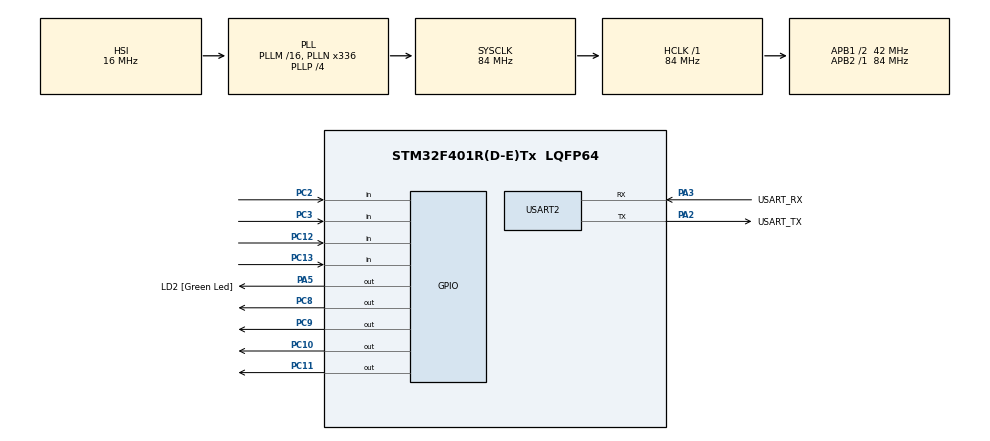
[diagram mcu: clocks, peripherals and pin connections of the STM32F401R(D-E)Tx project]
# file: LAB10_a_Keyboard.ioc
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Mcu.Family=STM32F4
Mcu.Name=STM32F401R(D-E)Tx
Mcu.Package=LQFP64
NVIC.PriorityGroup=NVIC_PRIORITYGROUP_0
PA13.GPIO_Label=TMS
PA13.Mode=Serial_Wire
PA13.Signal=SYS_JTMS-SWDIO
PA14.GPIO_Label=TCK
PA14.Mode=Serial_Wire
PA14.Signal=SYS_JTCK-SWCLK
PA2.GPIO_Label=USART_TX
PA2.GPIO_Mode=GPIO_MODE_AF_PP
PA2.GPIO_PuPd=GPIO_NOPULL
PA2.GPIO_Speed=GPIO_SPEED_FREQ_LOW
PA2.Mode=Asynchronous
PA2.Signal=USART2_TX
PA3.GPIO_Label=USART_RX
PA3.GPIO_Mode=GPIO_MODE_AF_PP
PA3.GPIO_PuPd=GPIO_NOPULL
PA3.GPIO_Speed=GPIO_SPEED_FREQ_LOW
PA3.Mode=Asynchronous
PA3.Signal=USART2_RX
PA5.GPIO_Label=LD2 [Green Led]
PA5.GPIO_Mode=GPIO_MODE_OUTPUT_PP
PA5.GPIO_PuPd=GPIO_NOPULL
PA5.GPIO_Speed=GPIO_SPEED_FREQ_LOW
PA5.Signal=GPIO_Output
PB3.GPIO_Label=SWO
PB3.Signal=SYS_JTDO-SWO
PC10.Signal=GPIO_Output
PC11.Signal=GPIO_Output
PC12.Signal=GPIO_Input
PC13-ANTI_TAMP.Signal=GPIO_Input
PC14-OSC32_IN.Mode=LSE-External-Oscillator
PC14-OSC32_IN.Signal=RCC_OSC32_IN
PC15-OSC32_OUT.Mode=LSE-External-Oscillator
PC15-OSC32_OUT.Signal=RCC_OSC32_OUT
PC2.Signal=GPIO_Input
PC3.Signal=GPIO_Input
PC8.Signal=GPIO_Output
PC9.Signal=GPIO_Output
PH0\ -\ OSC_IN.Mode=HSE-External-Clock-Source
PH0\ -\ OSC_IN.Signal=RCC_OSC_IN
PH1\ -\ OSC_OUT.Mode=HSE-External-Clock-Source
PH1\ -\ OSC_OUT.Signal=RCC_OSC_OUT
ProjectManager.HeapSize=0x200
ProjectManager.StackSize=0x400
ProjectManager.TargetToolchain=STM32CubeIDE
RCC.48MHZClocksFreq_Value=48000000
RCC.AHBFreq_Value=84000000
RCC.APB1CLKDivider=RCC_HCLK_DIV2
RCC.APB1Freq_Value=42000000
RCC.APB1TimFreq_Value=84000000
RCC.APB2Freq_Value=84000000
RCC.APB2TimFreq_Value=84000000
RCC.CortexFreq_Value=84000000
RCC.HCLKFreq_Value=84000000
RCC.HSE_VALUE=8000000
RCC.HSI_VALUE=16000000
RCC.PLLN=336
RCC.PLLP=RCC_PLLP_DIV4
RCC.PLLQ=7
RCC.SYSCLKFreq_VALUE=84000000
RCC.SYSCLKSource=RCC_SYSCLKSOURCE_PLLCLK
RCC.VCOOutputFreq_Value=336000000
USART2.VirtualMode=VM_ASYNC
board=NUCLEO-F401RE

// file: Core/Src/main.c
/* USER CODE BEGIN Header */
/**
  ******************************************************************************
  * @file           : main.c
  * @brief          : Main program body
  ******************************************************************************
  * @attention
  *
  * Copyright (c) 2022 STMicroelectronics.
  * All rights reserved.
  *
  * This software is licensed under terms that can be found in the LICENSE file
  * in the root directory of this software component.
  * If no LICENSE file comes with this software, it is provided AS-IS.
  *
  ******************************************************************************
  */
/* USER CODE END Header */
#include "main.h"

UART_HandleTypeDef huart2;

/* USER CODE BEGIN PV */

//Memorize all the used output pins: outputArray[0] = column0...
uint16_t outputArray[4] = {GPIO_PIN_8,GPIO_PIN_9,GPIO_PIN_10,GPIO_PIN_11};

//Memorize all used input pins: inputArray[0] = row0...
uint16_t inputArray[4] = {GPIO_PIN_12,GPIO_PIN_13,GPIO_PIN_2, GPIO_PIN_3};

uint32_t keypress[4][4];
uint32_t ack[4][4];

int column = 0;
int row = 0;
/* USER CODE END PV */

void SystemClock_Config(void);
static void MX_GPIO_Init(void);
static void MX_USART2_UART_Init(void);

int main(void)
{
  /* USER CODE BEGIN 1 */

	uint8_t keyboard_values[4][4];
	uint8_t temp = 0;
	 for(int column = 0; column < 4; column++){
		  for(int row = 0; row < 4; row++){
			  keyboard_values[row][column] = temp;
			  temp++;
		  }
	 }

	 int len = 0;
	 char str[32];
  /* USER CODE END 1 */

  /* MCU Configuration--------------------------------------------------------*/

  /* Reset of all peripherals, Initializes the Flash interface and the Systick. */
  HAL_Init();

  /* Configure the system clock */
  SystemClock_Config();

  /* Initialize all configured peripherals */
  MX_GPIO_Init();
  MX_USART2_UART_Init();

  /* Infinite loop */
  /* USER CODE BEGIN WHILE */
  while (1)
  {
	  for(column = 0; column < 4; column++){
		  HAL_GPIO_WritePin(GPIOC, outputArray[column], GPIO_PIN_SET);

		  HAL_Delay(10);

		  for(row = 0; row < 4; row++){
			  if (HAL_GPIO_ReadPin(GPIOC, inputArray[row])==GPIO_PIN_SET){
				  keypress[column][row]=0;
			  }else{
				  keypress[column][row]=1;
			  }
		  }

		  HAL_GPIO_WritePin(GPIOC, outputArray[column], GPIO_PIN_RESET);
	  }

	  for(row=0; row<4; row++){
		  for(column=0; column<4; column++){
			  if(keypress[row][column]==1){
				  if(ack[row][column]==0){
					  len = snprintf(str, sizeof(str), "Button pressed: %x \r\n", keyboard_values[row][column]);
					  HAL_UART_Transmit(&huart2, str, len, 10);
					  ack[row][column]= 1;
				  }
			  }else{
				  ack[row][column] = 0;
			  }
		  }
	  }

  }
    /* USER CODE END WHILE */

}

void SystemClock_Config(void)
{
  RCC_OscInitTypeDef RCC_OscInitStruct = {0};
  RCC_ClkInitTypeDef RCC_ClkInitStruct = {0};

  /** Configure the main internal regulator output voltage
  */
  __HAL_RCC_PWR_CLK_ENABLE();
  __HAL_PWR_VOLTAGESCALING_CONFIG(PWR_REGULATOR_VOLTAGE_SCALE2);

  /** Initializes the RCC Oscillators according to the specified parameters
  * in the RCC_OscInitTypeDef structure.
  */
  RCC_OscInitStruct.OscillatorType = RCC_OSCILLATORTYPE_HSI;
  RCC_OscInitStruct.HSIState = RCC_HSI_ON;
  RCC_OscInitStruct.HSICalibrationValue = RCC_HSICALIBRATION_DEFAULT;
  RCC_OscInitStruct.PLL.PLLState = RCC_PLL_ON;
  RCC_OscInitStruct.PLL.PLLSource = RCC_PLLSOURCE_HSI;
  RCC_OscInitStruct.PLL.PLLM = 16;
  RCC_OscInitStruct.PLL.PLLN = 336;
  RCC_OscInitStruct.PLL.PLLP = RCC_PLLP_DIV4;
  RCC_OscInitStruct.PLL.PLLQ = 7;
  if (HAL_RCC_OscConfig(&RCC_OscInitStruct) != HAL_OK)
  {
    Error_Handler();
  }

  /** Initializes the CPU, AHB and APB buses clocks
  */
  RCC_ClkInitStruct.ClockType = RCC_CLOCKTYPE_HCLK|RCC_CLOCKTYPE_SYSCLK
                              |RCC_CLOCKTYPE_PCLK1|RCC_CLOCKTYPE_PCLK2;
  RCC_ClkInitStruct.SYSCLKSource = RCC_SYSCLKSOURCE_PLLCLK;
  RCC_ClkInitStruct.AHBCLKDivider = RCC_SYSCLK_DIV1;
  RCC_ClkInitStruct.APB1CLKDivider = RCC_HCLK_DIV2;
  RCC_ClkInitStruct.APB2CLKDivider = RCC_HCLK_DIV1;

  if (HAL_RCC_ClockConfig(&RCC_ClkInitStruct, FLASH_LATENCY_2) != HAL_OK)
  {
    Error_Handler();
  }
}

static void MX_USART2_UART_Init(void)
{

  huart2.Instance = USART2;
  huart2.Init.BaudRate = 115200;
  huart2.Init.WordLength = UART_WORDLENGTH_8B;
  huart2.Init.StopBits = UART_STOPBITS_1;
  huart2.Init.Parity = UART_PARITY_NONE;
  huart2.Init.Mode = UART_MODE_TX_RX;
  huart2.Init.HwFlowCtl = UART_HWCONTROL_NONE;
  huart2.Init.OverSampling = UART_OVERSAMPLING_16;
  if (HAL_UART_Init(&huart2) != HAL_OK)
  {
    Error_Handler();
  }

}

static void MX_GPIO_Init(void)
{
  GPIO_InitTypeDef GPIO_InitStruct = {0};

  /* GPIO Ports Clock Enable */
  __HAL_RCC_GPIOC_CLK_ENABLE();
  __HAL_RCC_GPIOH_CLK_ENABLE();
  __HAL_RCC_GPIOA_CLK_ENABLE();
  __HAL_RCC_GPIOB_CLK_ENABLE();

  /*Configure GPIO pin Output Level */
  HAL_GPIO_WritePin(LD2_GPIO_Port, LD2_Pin, GPIO_PIN_RESET);

  /*Configure GPIO pin Output Level */
  HAL_GPIO_WritePin(GPIOC, GPIO_PIN_8|GPIO_PIN_9|GPIO_PIN_10|GPIO_PIN_11, GPIO_PIN_RESET);

  /*Configure GPIO pins : PC13 PC2 PC3 PC12 */
  GPIO_InitStruct.Pin = GPIO_PIN_13|GPIO_PIN_2|GPIO_PIN_3|GPIO_PIN_12;
  GPIO_InitStruct.Mode = GPIO_MODE_INPUT;
  GPIO_InitStruct.Pull = GPIO_NOPULL;
  HAL_GPIO_Init(GPIOC, &GPIO_InitStruct);

  /*Configure GPIO pin : LD2_Pin */
  GPIO_InitStruct.Pin = LD2_Pin;
  GPIO_InitStruct.Mode = GPIO_MODE_OUTPUT_PP;
  GPIO_InitStruct.Pull = GPIO_NOPULL;
  GPIO_InitStruct.Speed = GPIO_SPEED_FREQ_LOW;
  HAL_GPIO_Init(LD2_GPIO_Port, &GPIO_InitStruct);

  /*Configure GPIO pins : PC8 PC9 PC10 PC11 */
  GPIO_InitStruct.Pin = GPIO_PIN_8|GPIO_PIN_9|GPIO_PIN_10|GPIO_PIN_11;
  GPIO_InitStruct.Mode = GPIO_MODE_OUTPUT_PP;
  GPIO_InitStruct.Pull = GPIO_NOPULL;
  GPIO_InitStruct.Speed = GPIO_SPEED_FREQ_LOW;
  HAL_GPIO_Init(GPIOC, &GPIO_InitStruct);

}

void Error_Handler(void)
{
  __disable_irq();
  while (1)
  {
  }
}
